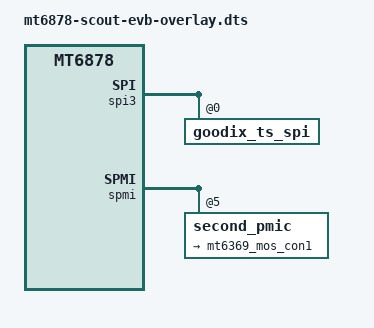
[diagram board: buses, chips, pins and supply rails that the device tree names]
/* Copyright (c) 2023, Motorola Mobility Inc. All rights reserved.
 *
 * This program is free software; you can redistribute it and/or modify
 * it under the terms of the GNU General Public License version 2 and
 * only version 2 as published by the Free Software Foundation.
 *
 * This program is distributed in the hope that it will be useful,
 * but WITHOUT ANY WARRANTY; without even the implied warranty of
 * MERCHANTABILITY or FITNESS FOR A PARTICULAR PURPOSE.  See the
 * GNU General Public License for more details.
 */

/dts-v1/;
/plugin/;

#include "mediatek/mt6878-scout-common-overlay.dtsi"

/* Board match root node */
/ {
	fragment@model {
		target-path = "/";
		__overlay__ {
			mot,model = "scout";
			mot,board-id = <0x4B 0xA100>, <0x4B 0xA200>, <0x4C 0xA200>;
		};
	};
};

&st21nfc {
	/*clkreq-gpios = <&pio 152 0x0>;*/
};

&spi3 {
	goodix_ts_spi@0 {
		/*goodix,iovdd-gpio = <&pio 151 0x0>;*/
	};
};

&mt6375_typec {
	mmi,support_CID;
};

&charger {
	/*typec_otp*/
	mmi,typecotp-charger;
};

&spmi {
	second_pmic@5 {
		regulators {
			mt6369_mos_con1: mos-con1 {
				regulator-name = "mt6369_mos_con1";
			};
		};
	};
};

&mt6375_chg {
	mmi,otp-mos-regulator-name = "mt6369_mos_con1";
};

#include <scout_evb/cust.dtsi>
/*End of this file, DO NOT ADD ANYTHING HERE*/
